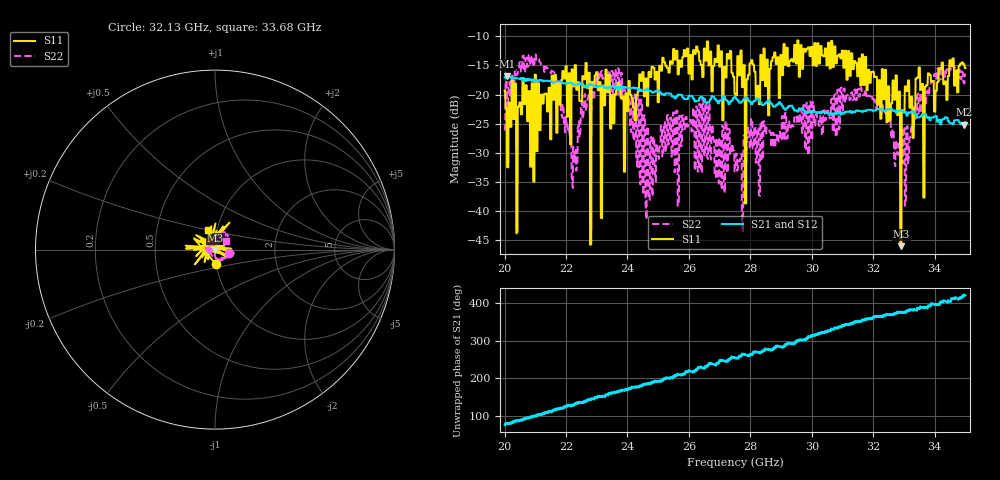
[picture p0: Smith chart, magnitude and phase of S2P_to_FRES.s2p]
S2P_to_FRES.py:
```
import pandas as pd
from math import log, sqrt, atan2

def file_write(filename, outString):
    fily = open(filename, '+a')
    fily.write(f'{outString}\n')
    fily.close()

def s2p_to_fres_RI(fily):
    filename = fily.split('.')[0] + '.fres'
    df = pd.read_csv(fily, header=0, skiprows=4, sep=' ')
    print(df.columns)

    fily = open(filename, 'w')
    file_write(filename, '#  HZ   S   RI   R     50.00')
    file_write(filename, '! Measurements: S21')
    file_write(filename, '!')
    for i, freq in enumerate(df['!freq']):
        file_write(filename, f'{freq}  {df.ReS21[i]:9.6f}  {df.ImS21[i]:9.6f}')

def s2p_to_fres_DB(fily):
    filename = fily.split('.')[0] + '.fres'
    df = pd.read_csv(fily, header=0, skiprows=4, sep=' ')
    print(df.columns)

    fily = open(filename, 'w')
    file_write(filename, '#  HZ   S   DB   R     50.00')
    file_write(filename, '! Measurements: S21')
    file_write(filename, '!')
    for i, freq in enumerate(df['!freq']):
        mag   = sqrt(df.ReS21[i] * df.ReS21[i] + df.ImS21[i] * df.ImS21[i])
        dB    = -10 * log(mag)
        phase = atan2(df.ImS21[i], df.ReS21[i])
        file_write(filename, f'{freq}  {dB:9.6f}  {phase:9.6f}')

if __name__ == "__main__":
    s2p_to_fres_RI('S2P_to_FRES.s2p')
```
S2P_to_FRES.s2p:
! /Users/rfdate/Desktop/Miramar/trace_loss/Path_Loss_Miramar/PATH16_1.S2P
! /Users/rfdate/Desktop/Miramar/trace_loss/Measured_Trace_Loss/LB/LB_V3.s2p
!Created with skrf (http://scikit-rf.org).
# Hz S RI R 50.0
!freq ReS11 ImS11 ReS21 ImS21 ReS12 ImS12 ReS22 ImS22
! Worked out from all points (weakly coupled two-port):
!   1500 points, 20 GHz to 35 GHz, reference 50 ohm
!   highest |S21| = -16.89 dB at 20.08 GHz (marker M1); lowest = -25.2 dB at 34.97 GHz (marker M2)
!   lowest |S11| = -46.0 dB at 32.92 GHz (marker M3), VSWR 1.01, Z = 50.1 - j0.484 ohm
!   |S11| at or under -10 dB: start of sweep to end of sweep
!   |S22| runs from -43.5 to -13.1 dB; largest |S21 - S12| = 0.011
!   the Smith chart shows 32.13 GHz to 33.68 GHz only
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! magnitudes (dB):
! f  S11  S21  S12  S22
! 20 GHz  -19.3  -17.0  -17.0  -26.2
! 20.08 GHz  -32.4  -16.9  -16.8  -22.3
! 22.25 GHz  -18.6  -18.3  -18.4  -29.8
! 23.1 GHz  -17.9  -18.5  -18.6  -17.3
! 27.51 GHz  -19.9  -20.4  -20.4  -32.5
! 30.95 GHz  -13.8  -23.4  -23.5  -18.9
! 32.7 GHz  -20.9  -22.7  -22.7  -31.8
! 32.92 GHz  -46.0  -22.8  -22.8  -26.3
! 33.1 GHz  -19.4  -23.6  -23.5  -25.6
! 34.97 GHz  -14.8  -25.2  -25.2  -18.1
! 35 GHz  -15.5  -24.7  -24.8  -16.6
